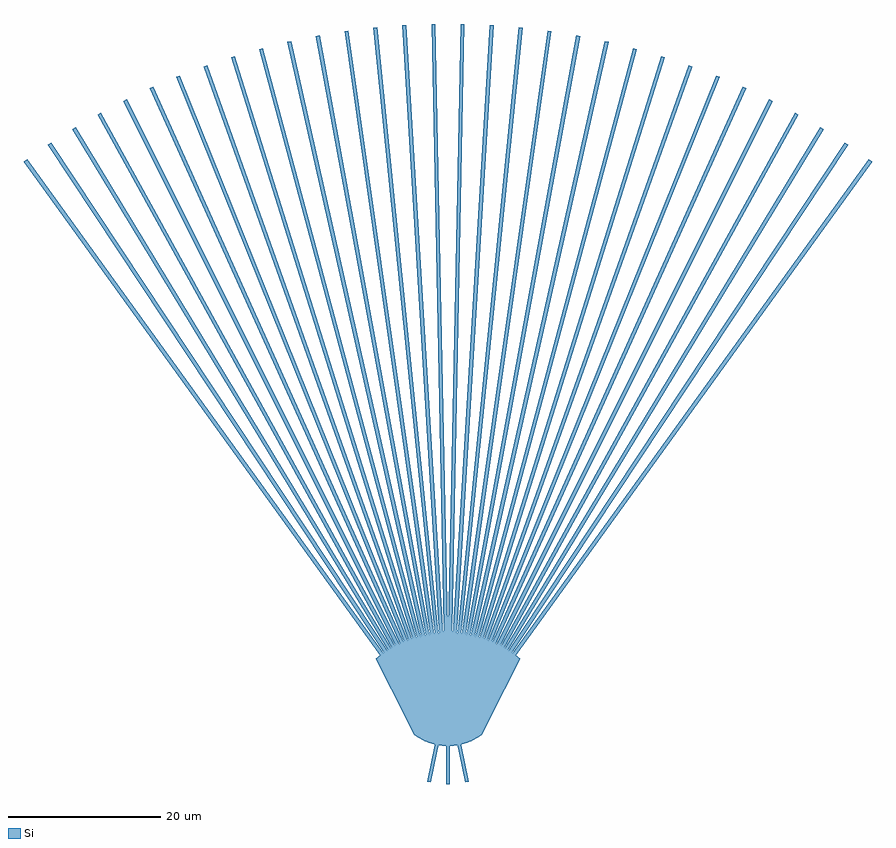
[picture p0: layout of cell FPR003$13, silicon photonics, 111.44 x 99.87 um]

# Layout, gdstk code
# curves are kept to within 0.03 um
from math import pi, radians
import gdstk
lib = gdstk.Library(unit=1e-6, precision=1e-09)
def R(c, l, rs):  # rectangles x0, y0, x1, y1
    for r in rs: c.add(gdstk.rectangle(r[:2], r[2:], *l))
def P(c, l, *ps):  # polygons
    for p in ps: c.add(gdstk.Polygon(p, *l))
Si = (1, 0)

taper006_13 = lib.new_cell('taper006$13')
R(taper006_13, Si, [(-80,-0.25,2.5,0.25)])

taper005_13 = lib.new_cell('taper005$13')
R(taper005_13, Si, [(-5,-0.25,2.5,0.25)])

boolean004_13 = lib.new_cell('boolean004$13')
P(boolean004_13, Si, [(4.042,-9.461),(-5.95,-4.465),(-6.569,-3.493),(-7.076,-2.299),(-7.368,-1.035),(-7.44,0),(-7.368,1.035),(-7.076,2.299),(-6.569,3.493),(-5.95,4.465),(4.042,9.461),(4.896,8.321),(5.446,7.44),(6.154,6.052),(6.543,5.089),(6.864,4.101),(7.214,2.584),(7.404,1.038),(7.44,0),(7.404,-1.038),(7.214,-2.584),(6.864,-4.101),(6.543,-5.089),(6.154,-6.052),(5.446,-7.44),(4.896,-8.321)])

fpr003_13 = lib.new_cell('FPR003$13')
fpr003_13.add(gdstk.Reference(taper006_13, (75.667,4.627), rotation=radians(234.1877)))
fpr003_13.add(gdstk.Reference(taper006_13, (75.173,4.968), rotation=radians(236.4982)))
fpr003_13.add(gdstk.Reference(taper006_13, (73.074,6.126), rotation=radians(245.7401)))
fpr003_13.add(gdstk.Reference(taper006_13, (61.398,6.361), rotation=radians(291.9495)))
fpr003_13.add(gdstk.Reference(taper006_13, (61.959,6.574), rotation=radians(289.639)))
fpr003_13.add(gdstk.Reference(taper006_13, (59.773,5.589), rotation=radians(298.8809)))
fpr003_13.add(gdstk.Reference(taper006_13, (59.254,5.289), rotation=radians(301.1913)))
fpr003_13.add(gdstk.Reference(taper006_13, (67.26,7.437), rotation=radians(268.8448)))
fpr003_13.add(gdstk.Reference(taper006_13, (58.253,4.627), rotation=radians(305.8123)))
fpr003_13.add(gdstk.Reference(taper006_13, (74.666,5.289), rotation=radians(238.8087)))
fpr003_13.add(gdstk.Reference(taper006_13, (66.06,7.413), rotation=radians(273.4657)))
fpr003_13.add(gdstk.Reference(taper006_13, (62.528,6.765), rotation=radians(287.3285)))
fpr003_13.add(gdstk.Reference(taper006_13, (60.304,5.868), rotation=radians(296.5704)))
fpr003_13.add(gdstk.Reference(taper005_13, (66.96,-7.44), rotation=pi/2, x_reflection=True))
fpr003_13.add(gdstk.Reference(boolean004_13, (66.96,0), rotation=pi/2, x_reflection=True))
fpr003_13.add(gdstk.Reference(taper006_13, (74.147,5.589), rotation=radians(241.1191)))
fpr003_13.add(gdstk.Reference(taper006_13, (67.86,7.413), rotation=radians(266.5343)))
fpr003_13.add(gdstk.Reference(taper006_13, (60.846,6.126), rotation=radians(294.2599)))
fpr003_13.add(gdstk.Reference(taper006_13, (71.961,6.574), rotation=radians(250.361)))
fpr003_13.add(gdstk.Reference(taper006_13, (58.747,4.968), rotation=radians(303.5018)))
fpr003_13.add(gdstk.Reference(taper005_13, (65.468,-7.289), rotation=radians(78.4288), x_reflection=True))
fpr003_13.add(gdstk.Reference(taper006_13, (63.104,6.932), rotation=radians(285.0181)))
fpr003_13.add(gdstk.Reference(taper006_13, (64.275,7.196), rotation=radians(280.3971)))
fpr003_13.add(gdstk.Reference(taper006_13, (73.616,5.868), rotation=radians(243.4296)))
fpr003_13.add(gdstk.Reference(taper006_13, (64.867,7.292), rotation=radians(278.0866)))
fpr003_13.add(gdstk.Reference(taper006_13, (65.462,7.364), rotation=radians(275.7762)))
fpr003_13.add(gdstk.Reference(taper006_13, (66.66,7.437), rotation=radians(271.1552)))
fpr003_13.add(gdstk.Reference(taper006_13, (71.392,6.765), rotation=radians(252.6715)))
fpr003_13.add(gdstk.Reference(taper006_13, (68.458,7.364), rotation=radians(264.2238)))
fpr003_13.add(gdstk.Reference(taper006_13, (69.053,7.292), rotation=radians(261.9134)))
fpr003_13.add(gdstk.Reference(taper006_13, (69.645,7.196), rotation=radians(259.6029)))
fpr003_13.add(gdstk.Reference(taper005_13, (68.452,-7.289), rotation=radians(101.5712), x_reflection=True))
fpr003_13.add(gdstk.Reference(taper006_13, (70.233,7.076), rotation=radians(257.2924)))
fpr003_13.add(gdstk.Reference(taper006_13, (72.522,6.361), rotation=radians(248.0505)))
fpr003_13.add(gdstk.Reference(taper006_13, (63.687,7.076), rotation=radians(282.7076)))
fpr003_13.add(gdstk.Reference(taper006_13, (70.816,6.932), rotation=radians(254.9819)))

lib.write_gds('FPR003_13.gds')
